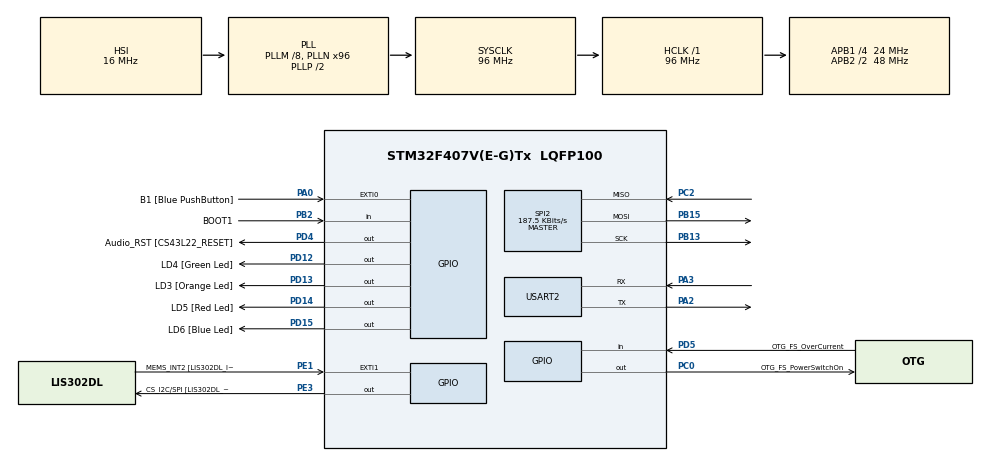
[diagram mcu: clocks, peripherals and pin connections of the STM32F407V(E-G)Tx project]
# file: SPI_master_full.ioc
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Mcu.Family=STM32F4
Mcu.Name=STM32F407V(E-G)Tx
Mcu.Package=LQFP100
NVIC.EXTI0_IRQn=true\:0\:0\:false\:false\:true\:true\:true\:true
NVIC.PriorityGroup=NVIC_PRIORITYGROUP_0
PA0-WKUP.GPIO_Label=B1 [Blue PushButton]
PA0-WKUP.Signal=GPXTI0
PA10.GPIO_Label=OTG_FS_ID
PA10.GPIO_Mode=GPIO_MODE_AF_PP
PA10.GPIO_PuPd=GPIO_NOPULL
PA10.GPIO_Speed=GPIO_SPEED_FREQ_LOW
PA10.Signal=USB_OTG_FS_ID
PA11.GPIO_Label=OTG_FS_DM
PA11.GPIO_Mode=GPIO_MODE_AF_PP
PA11.GPIO_PuPd=GPIO_NOPULL
PA11.GPIO_Speed=GPIO_SPEED_FREQ_LOW
PA11.Signal=USB_OTG_FS_DM
PA12.GPIO_Label=OTG_FS_DP
PA12.GPIO_Mode=GPIO_MODE_AF_PP
PA12.GPIO_PuPd=GPIO_NOPULL
PA12.GPIO_Speed=GPIO_SPEED_FREQ_LOW
PA12.Signal=USB_OTG_FS_DP
PA13.GPIO_Label=SWDIO
PA13.Signal=SYS_JTMS-SWDIO
PA14.GPIO_Label=SWCLK
PA14.Signal=SYS_JTCK-SWCLK
PA2.Mode=Asynchronous
PA2.Signal=USART2_TX
PA3.Mode=Asynchronous
PA3.Signal=USART2_RX
PA4.GPIO_Label=I2S3_WS [CS43L22_LRCK]
PA4.GPIO_Mode=GPIO_MODE_AF_PP
PA4.GPIO_PuPd=GPIO_NOPULL
PA4.GPIO_Speed=GPIO_SPEED_FREQ_LOW
PA4.Signal=I2S3_WS
PA5.GPIO_Label=SPI1_SCK [LIS302DL_SCL/SPC]
PA5.GPIO_Mode=GPIO_MODE_AF_PP
PA5.GPIO_PuPd=GPIO_NOPULL
PA5.GPIO_Speed=GPIO_SPEED_FREQ_LOW
PA5.Signal=SPI1_SCK
PA6.GPIO_Label=SPI1_MISO [LIS302DL_SDO]
PA6.GPIO_Mode=GPIO_MODE_AF_PP
PA6.GPIO_PuPd=GPIO_NOPULL
PA6.GPIO_Speed=GPIO_SPEED_FREQ_LOW
PA6.Signal=SPI1_MISO
PA7.GPIO_Label=SPI1_MOSI [LIS302DL_SDA/SDI/SDO]
PA7.GPIO_Mode=GPIO_MODE_AF_PP
PA7.GPIO_PuPd=GPIO_NOPULL
PA7.GPIO_Speed=GPIO_SPEED_FREQ_LOW
PA7.Signal=SPI1_MOSI
PA9.GPIO_Label=VBUS_FS
PA9.GPIO_Mode=GPIO_MODE_INPUT
PA9.GPIO_PuPd=GPIO_NOPULL
PA9.Signal=USB_OTG_FS_VBUS
PB10.GPIO_Label=CLK_IN [MP45DT02_CLK]
PB10.GPIO_Mode=GPIO_MODE_AF_PP
PB10.GPIO_PuPd=GPIO_NOPULL
PB10.GPIO_Speed=GPIO_SPEED_FREQ_LOW
PB10.Signal=I2S2_CK
PB13.Mode=Full_Duplex_Master
PB13.Signal=SPI2_SCK
PB15.Mode=Full_Duplex_Master
PB15.Signal=SPI2_MOSI
PB2.GPIO_Label=BOOT1
PB2.GPIO_Mode=GPIO_MODE_INPUT
PB2.GPIO_PuPd=GPIO_NOPULL
PB2.Signal=GPIO_Input
PB3.GPIO_Label=SWO
PB3.Signal=SYS_JTDO-SWO
PB6.GPIO_Label=Audio_SCL [CS43L22_SCL]
PB6.GPIO_Mode=GPIO_MODE_AF_OD
PB6.GPIO_PuPd=GPIO_NOPULL
PB6.GPIO_Speed=GPIO_SPEED_FREQ_LOW
PB6.Signal=I2C1_SCL
PB9.GPIO_Label=Audio_SDA [CS43L22_SDA]
PB9.GPIO_Mode=GPIO_MODE_AF_OD
PB9.GPIO_PuPd=GPIO_NOPULL
PB9.GPIO_Speed=GPIO_SPEED_FREQ_LOW
PB9.Signal=I2C1_SDA
PC0.GPIO_Label=OTG_FS_PowerSwitchOn
PC0.GPIO_PuPd=GPIO_NOPULL
PC0.GPIO_Speed=GPIO_SPEED_FREQ_LOW
PC0.PinState=GPIO_PIN_SET
PC0.Signal=GPIO_Output
PC10.GPIO_Label=I2S3_SCK [CS43L22_SCLK]
PC10.GPIO_Mode=GPIO_MODE_AF_PP
PC10.GPIO_PuPd=GPIO_NOPULL
PC10.GPIO_Speed=GPIO_SPEED_FREQ_LOW
PC10.Signal=I2S3_CK
PC12.GPIO_Label=I2S3_SD [CS43L22_SDIN]
PC12.GPIO_Mode=GPIO_MODE_AF_PP
PC12.GPIO_PuPd=GPIO_NOPULL
PC12.GPIO_Speed=GPIO_SPEED_FREQ_LOW
PC12.Signal=I2S3_SD
PC14-OSC32_IN.GPIO_Label=PC14-OSC32_IN
PC14-OSC32_IN.Signal=RCC_OSC32_IN
PC15-OSC32_OUT.GPIO_Label=PC15-OSC32_OUT
PC15-OSC32_OUT.Signal=RCC_OSC32_OUT
PC2.Mode=Full_Duplex_Master
PC2.Signal=SPI2_MISO
PC3.GPIO_Label=PDM_OUT [MP45DT02_DOUT]
PC3.GPIO_Mode=GPIO_MODE_AF_PP
PC3.GPIO_PuPd=GPIO_NOPULL
PC3.GPIO_Speed=GPIO_SPEED_FREQ_LOW
PC3.Signal=I2S2_SD
PC7.GPIO_Label=I2S3_MCK [CS43L22_MCLK]
PC7.GPIO_Mode=GPIO_MODE_AF_PP
PC7.GPIO_PuPd=GPIO_NOPULL
PC7.GPIO_Speed=GPIO_SPEED_FREQ_LOW
PC7.Signal=I2S3_MCK
PD12.GPIO_Label=LD4 [Green Led]
PD12.GPIO_PuPd=GPIO_NOPULL
PD12.GPIO_Speed=GPIO_SPEED_FREQ_LOW
PD12.Signal=GPIO_Output
PD13.GPIO_Label=LD3 [Orange Led]
PD13.GPIO_PuPd=GPIO_NOPULL
PD13.GPIO_Speed=GPIO_SPEED_FREQ_LOW
PD13.Signal=GPIO_Output
PD14.GPIO_Label=LD5 [Red Led]
PD14.GPIO_PuPd=GPIO_NOPULL
PD14.GPIO_Speed=GPIO_SPEED_FREQ_LOW
PD14.Signal=GPIO_Output
PD15.GPIO_Label=LD6 [Blue Led]
PD15.GPIO_PuPd=GPIO_NOPULL
PD15.GPIO_Speed=GPIO_SPEED_FREQ_LOW
PD15.Signal=GPIO_Output
PD4.GPIO_Label=Audio_RST [CS43L22_RESET]
PD4.GPIO_PuPd=GPIO_NOPULL
PD4.GPIO_Speed=GPIO_SPEED_FREQ_LOW
PD4.Signal=GPIO_Output
PD5.GPIO_Label=OTG_FS_OverCurrent
PD5.GPIO_Mode=GPIO_MODE_INPUT
PD5.GPIO_PuPd=GPIO_NOPULL
PD5.Signal=GPIO_Input
PE1.GPIO_Label=MEMS_INT2 [LIS302DL_INT2]
PE1.GPIO_ModeDefaultEXTI=GPIO_MODE_EVT_RISING
PE1.GPIO_PuPd=GPIO_NOPULL
PE1.Signal=GPXTI1
PE3.GPIO_Label=CS_I2C/SPI [LIS302DL_CS_I2C/SPI]
PE3.GPIO_PuPd=GPIO_NOPULL
PE3.GPIO_Speed=GPIO_SPEED_FREQ_LOW
PE3.Signal=GPIO_Output
PH0-OSC_IN.GPIO_Label=PH0-OSC_IN
PH0-OSC_IN.Signal=RCC_OSC_IN
PH1-OSC_OUT.GPIO_Label=PH1-OSC_OUT
PH1-OSC_OUT.Signal=RCC_OSC_OUT
ProjectManager.HeapSize=0x200
ProjectManager.StackSize=0x400
ProjectManager.TargetToolchain=STM32CubeIDE
RCC.48MHZClocksFreq_Value=27428571.42857143
RCC.AHBFreq_Value=96000000
RCC.APB1CLKDivider=RCC_HCLK_DIV4
RCC.APB1Freq_Value=24000000
RCC.APB1TimFreq_Value=48000000
RCC.APB2CLKDivider=RCC_HCLK_DIV2
RCC.APB2Freq_Value=48000000
RCC.APB2TimFreq_Value=96000000
RCC.CortexFreq_Value=96000000
RCC.HCLKFreq_Value=96000000
RCC.HSE_VALUE=8000000
RCC.HSI_VALUE=16000000
RCC.LSE_VALUE=32768
RCC.PLLM=8
RCC.PLLN=96
RCC.PLLQ=7
RCC.SYSCLKFreq_VALUE=96000000
RCC.SYSCLKSource=RCC_SYSCLKSOURCE_PLLCLK
RCC.VCOOutputFreq_Value=192000000
SPI2.BaudRatePrescaler=SPI_BAUDRATEPRESCALER_128
SPI2.CalculateBaudRate=187.5 KBits/s
SPI2.Direction=SPI_DIRECTION_2LINES
SPI2.Mode=SPI_MODE_MASTER
SPI2.VirtualType=VM_MASTER
USART2.VirtualMode=VM_ASYNC
board=STM32F407G-DISC1

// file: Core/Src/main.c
/* USER CODE BEGIN Header */
/**
 ******************************************************************************
 * @file           : main.c
 * @brief          : Main program body
 ******************************************************************************
 * @attention
 *
 * Copyright (c) 2024 STMicroelectronics.
 * All rights reserved.
 *
 * This software is licensed under terms that can be found in the LICENSE file
 * in the root directory of this software component.
 * If no LICENSE file comes with this software, it is provided AS-IS.
 *
 ******************************************************************************
 */
/* USER CODE END Header */
#include "main.h"

/* USER CODE BEGIN Includes */
#include <string.h>
/* USER CODE END Includes */

SPI_HandleTypeDef hspi2;

UART_HandleTypeDef huart2;

/* USER CODE BEGIN PV */
uint8_t cmd[] = { '1', '2' };
uint8_t send_cmd = 0;
uint8_t first_command = 1;
uint16_t cmd_size_bytes = 1;

uint8_t data[8];
uint8_t new_data_in = 0;
uint16_t data_size_bytes = 1;
/* USER CODE END PV */

void SystemClock_Config(void);
static void MX_GPIO_Init(void);
static void MX_USART2_UART_Init(void);
static void MX_SPI2_Init(void);

int main(void) {
	/* USER CODE BEGIN 1 */
	// 1. Master send command when blue button is pressed.
	// 2. Slave on receive command, will transmit a single character.
	// 3. Master will receive data and send directly to UART.
	// 4. Slave will increment the data say from A to B, or B to C.
	// 5. Slave will be set again to trigger interrupt if it receives a cmd from master.
	/* USER CODE END 1 */

	/* MCU Configuration--------------------------------------------------------*/

	/* Reset of all peripherals, Initializes the Flash interface and the Systick. */
	HAL_Init();

	/* Configure the system clock */
	SystemClock_Config();

	/* Initialize all configured peripherals */
	MX_GPIO_Init();
	MX_USART2_UART_Init();
	MX_SPI2_Init();
	char *msg = "application start\r\n";
	uint16_t len_of_data = strlen(msg);
	HAL_UART_Transmit(&huart2, (uint8_t*) msg, len_of_data, HAL_MAX_DELAY);
	/* Infinite loop */
	while (1) {

		/* USER CODE BEGIN 3 */
		// Option 1. >>>>>>>>>>>>>>>>>>>>>>>>>>>>>>>>>>>>>>>>>>>>>>>>>>>>>>>>>>>
		// This works it gives me "ABCDE" it will go on to "Z" if I press 26 times.
		// I set the slave to increment data before it's sending.
		// 1. Send SPI command at every button press.
//		if (send_cmd == 1) {
//			// Delay 10ms for debouncing.
//			HAL_Delay(10);
//
//			// Check if the LED pin is 1.
//			if (HAL_GPIO_ReadPin(GPIOA, GPIO_PIN_0) == GPIO_PIN_SET) {
//				// Send data once at a time.
//				send_cmd = 0;
//
//				// Signalling the slave that we will sync the clock.
//				HAL_SPI_Transmit(&hspi2, (uint8_t*) cmd, cmd_size_bytes,
//				HAL_MAX_DELAY);
//
//				// 2. Ready to receive SPI response.
//				HAL_SPI_Receive(&hspi2, (uint8_t*) data, data_size_bytes,
//				HAL_MAX_DELAY);
//
//				// 3. Send UART sent confirmation.
//				HAL_UART_Transmit(&huart2, (uint8_t*) data, data_size_bytes,
//				HAL_MAX_DELAY);
//
//				// 4. Blink blue LED.
//				HAL_GPIO_WritePin(LD6_GPIO_Port, LD6_Pin, GPIO_PIN_SET);
//				HAL_Delay(1000);
//				HAL_GPIO_WritePin(LD6_GPIO_Port, LD6_Pin, GPIO_PIN_RESET);
//				HAL_Delay(1000);
//
//			}
//		}
		// <<<<<<<<<<<<<<<<<<<<<<<<<<<<<<<<<<<<<<<<<<<<<<<<<<<<<Option 1 ends

		// Option 2. >>>>>>>>>>>>>>>>>>>>>>>>>>>>>>>>>>>>>>>>>>>>>>>>>>>>>>>>>>>
		// Only press button once, send_cmd flag will be set to 1.
		// Then always send command every 2 seconds.
		if (send_cmd == 1) {

			// 1. Signalling the slave that we will sync the clock.
			HAL_SPI_Transmit(&hspi2, (uint8_t*) cmd, cmd_size_bytes,
			HAL_MAX_DELAY);

			// 2. Ready to receive SPI response.
			HAL_SPI_Receive(&hspi2, (uint8_t*) data, data_size_bytes,
			HAL_MAX_DELAY);

			// 3. Send UART sent confirmation.
			HAL_UART_Transmit(&huart2, (uint8_t*) data, data_size_bytes,
			HAL_MAX_DELAY);

			// 4. Blink blue LED.
			HAL_GPIO_WritePin(LD6_GPIO_Port, LD6_Pin, GPIO_PIN_SET);
			HAL_Delay(1000);
			HAL_GPIO_WritePin(LD6_GPIO_Port, LD6_Pin, GPIO_PIN_RESET);
			HAL_Delay(1000);

		}
		/* USER CODE END 3 */
	}
}

void SystemClock_Config(void) {
	RCC_OscInitTypeDef RCC_OscInitStruct = { 0 };
	RCC_ClkInitTypeDef RCC_ClkInitStruct = { 0 };

	/** Configure the main internal regulator output voltage
	 */
	__HAL_RCC_PWR_CLK_ENABLE();
	__HAL_PWR_VOLTAGESCALING_CONFIG(PWR_REGULATOR_VOLTAGE_SCALE1);

	/** Initializes the RCC Oscillators according to the specified parameters
	 * in the RCC_OscInitTypeDef structure.
	 */
	RCC_OscInitStruct.OscillatorType = RCC_OSCILLATORTYPE_HSI;
	RCC_OscInitStruct.HSIState = RCC_HSI_ON;
	RCC_OscInitStruct.HSICalibrationValue = RCC_HSICALIBRATION_DEFAULT;
	RCC_OscInitStruct.PLL.PLLState = RCC_PLL_ON;
	RCC_OscInitStruct.PLL.PLLSource = RCC_PLLSOURCE_HSI;
	RCC_OscInitStruct.PLL.PLLM = 8;
	RCC_OscInitStruct.PLL.PLLN = 96;
	RCC_OscInitStruct.PLL.PLLP = RCC_PLLP_DIV2;
	RCC_OscInitStruct.PLL.PLLQ = 7;
	if (HAL_RCC_OscConfig(&RCC_OscInitStruct) != HAL_OK) {
		Error_Handler();
	}

	/** Initializes the CPU, AHB and APB buses clocks
	 */
	RCC_ClkInitStruct.ClockType = RCC_CLOCKTYPE_HCLK | RCC_CLOCKTYPE_SYSCLK
			| RCC_CLOCKTYPE_PCLK1 | RCC_CLOCKTYPE_PCLK2;
	RCC_ClkInitStruct.SYSCLKSource = RCC_SYSCLKSOURCE_PLLCLK;
	RCC_ClkInitStruct.AHBCLKDivider = RCC_SYSCLK_DIV1;
	RCC_ClkInitStruct.APB1CLKDivider = RCC_HCLK_DIV4;
	RCC_ClkInitStruct.APB2CLKDivider = RCC_HCLK_DIV2;

	if (HAL_RCC_ClockConfig(&RCC_ClkInitStruct, FLASH_LATENCY_3) != HAL_OK) {
		Error_Handler();
	}
}

static void MX_SPI2_Init(void) {

	/* SPI2 parameter configuration*/
	hspi2.Instance = SPI2;
	hspi2.Init.Mode = SPI_MODE_MASTER;
	hspi2.Init.Direction = SPI_DIRECTION_2LINES;
	hspi2.Init.DataSize = SPI_DATASIZE_8BIT;
	hspi2.Init.CLKPolarity = SPI_POLARITY_LOW;
	hspi2.Init.CLKPhase = SPI_PHASE_1EDGE;
	hspi2.Init.NSS = SPI_NSS_SOFT;
	hspi2.Init.BaudRatePrescaler = SPI_BAUDRATEPRESCALER_128;
	hspi2.Init.FirstBit = SPI_FIRSTBIT_MSB;
	hspi2.Init.TIMode = SPI_TIMODE_DISABLE;
	hspi2.Init.CRCCalculation = SPI_CRCCALCULATION_DISABLE;
	hspi2.Init.CRCPolynomial = 10;
	if (HAL_SPI_Init(&hspi2) != HAL_OK) {
		Error_Handler();
	}

}

static void MX_USART2_UART_Init(void) {

	huart2.Instance = USART2;
	huart2.Init.BaudRate = 115200;
	huart2.Init.WordLength = UART_WORDLENGTH_8B;
	huart2.Init.StopBits = UART_STOPBITS_1;
	huart2.Init.Parity = UART_PARITY_NONE;
	huart2.Init.Mode = UART_MODE_TX_RX;
	huart2.Init.HwFlowCtl = UART_HWCONTROL_NONE;
	huart2.Init.OverSampling = UART_OVERSAMPLING_16;
	if (HAL_UART_Init(&huart2) != HAL_OK) {
		Error_Handler();
	}

}

static void MX_GPIO_Init(void) {
	GPIO_InitTypeDef GPIO_InitStruct = { 0 };

	/* GPIO Ports Clock Enable */
	__HAL_RCC_GPIOE_CLK_ENABLE();
	__HAL_RCC_GPIOC_CLK_ENABLE();
	__HAL_RCC_GPIOH_CLK_ENABLE();
	__HAL_RCC_GPIOA_CLK_ENABLE();
	__HAL_RCC_GPIOB_CLK_ENABLE();
	__HAL_RCC_GPIOD_CLK_ENABLE();

	/*Configure GPIO pin Output Level */
	HAL_GPIO_WritePin(CS_I2C_SPI_GPIO_Port, CS_I2C_SPI_Pin, GPIO_PIN_RESET);

	/*Configure GPIO pin Output Level */
	HAL_GPIO_WritePin(OTG_FS_PowerSwitchOn_GPIO_Port,
	OTG_FS_PowerSwitchOn_Pin, GPIO_PIN_SET);

	/*Configure GPIO pin Output Level */
	HAL_GPIO_WritePin(GPIOD,
	LD4_Pin | LD3_Pin | LD5_Pin | LD6_Pin | Audio_RST_Pin, GPIO_PIN_RESET);

	/*Configure GPIO pin : CS_I2C_SPI_Pin */
	GPIO_InitStruct.Pin = CS_I2C_SPI_Pin;
	GPIO_InitStruct.Mode = GPIO_MODE_OUTPUT_PP;
	GPIO_InitStruct.Pull = GPIO_NOPULL;
	GPIO_InitStruct.Speed = GPIO_SPEED_FREQ_LOW;
	HAL_GPIO_Init(CS_I2C_SPI_GPIO_Port, &GPIO_InitStruct);

	/*Configure GPIO pin : OTG_FS_PowerSwitchOn_Pin */
	GPIO_InitStruct.Pin = OTG_FS_PowerSwitchOn_Pin;
	GPIO_InitStruct.Mode = GPIO_MODE_OUTPUT_PP;
	GPIO_InitStruct.Pull = GPIO_NOPULL;
	GPIO_InitStruct.Speed = GPIO_SPEED_FREQ_LOW;
	HAL_GPIO_Init(OTG_FS_PowerSwitchOn_GPIO_Port, &GPIO_InitStruct);

	/*Configure GPIO pin : PDM_OUT_Pin */
	GPIO_InitStruct.Pin = PDM_OUT_Pin;
	GPIO_InitStruct.Mode = GPIO_MODE_AF_PP;
	GPIO_InitStruct.Pull = GPIO_NOPULL;
	GPIO_InitStruct.Speed = GPIO_SPEED_FREQ_LOW;
	GPIO_InitStruct.Alternate = GPIO_AF5_SPI2;
	HAL_GPIO_Init(PDM_OUT_GPIO_Port, &GPIO_InitStruct);

	/*Configure GPIO pin : B1_Pin */
	GPIO_InitStruct.Pin = B1_Pin;
	GPIO_InitStruct.Mode = GPIO_MODE_IT_RISING;
	GPIO_InitStruct.Pull = GPIO_NOPULL;
	HAL_GPIO_Init(B1_GPIO_Port, &GPIO_InitStruct);

	/*Configure GPIO pin : I2S3_WS_Pin */
	GPIO_InitStruct.Pin = I2S3_WS_Pin;
	GPIO_InitStruct.Mode = GPIO_MODE_AF_PP;
	GPIO_InitStruct.Pull = GPIO_NOPULL;
	GPIO_InitStruct.Speed = GPIO_SPEED_FREQ_LOW;
	GPIO_InitStruct.Alternate = GPIO_AF6_SPI3;
	HAL_GPIO_Init(I2S3_WS_GPIO_Port, &GPIO_InitStruct);

	/*Configure GPIO pins : SPI1_SCK_Pin SPI1_MISO_Pin SPI1_MOSI_Pin */
	GPIO_InitStruct.Pin = SPI1_SCK_Pin | SPI1_MISO_Pin | SPI1_MOSI_Pin;
	GPIO_InitStruct.Mode = GPIO_MODE_AF_PP;
	GPIO_InitStruct.Pull = GPIO_NOPULL;
	GPIO_InitStruct.Speed = GPIO_SPEED_FREQ_LOW;
	GPIO_InitStruct.Alternate = GPIO_AF5_SPI1;
	HAL_GPIO_Init(GPIOA, &GPIO_InitStruct);

	/*Configure GPIO pin : BOOT1_Pin */
	GPIO_InitStruct.Pin = BOOT1_Pin;
	GPIO_InitStruct.Mode = GPIO_MODE_INPUT;
	GPIO_InitStruct.Pull = GPIO_NOPULL;
	HAL_GPIO_Init(BOOT1_GPIO_Port, &GPIO_InitStruct);

	/*Configure GPIO pin : CLK_IN_Pin */
	GPIO_InitStruct.Pin = CLK_IN_Pin;
	GPIO_InitStruct.Mode = GPIO_MODE_AF_PP;
	GPIO_InitStruct.Pull = GPIO_NOPULL;
	GPIO_InitStruct.Speed = GPIO_SPEED_FREQ_LOW;
	GPIO_InitStruct.Alternate = GPIO_AF5_SPI2;
	HAL_GPIO_Init(CLK_IN_GPIO_Port, &GPIO_InitStruct);

	/*Configure GPIO pins : LD4_Pin LD3_Pin LD5_Pin LD6_Pin
	 Audio_RST_Pin */
	GPIO_InitStruct.Pin = LD4_Pin | LD3_Pin | LD5_Pin | LD6_Pin | Audio_RST_Pin;
	GPIO_InitStruct.Mode = GPIO_MODE_OUTPUT_PP;
	GPIO_InitStruct.Pull = GPIO_NOPULL;
	GPIO_InitStruct.Speed = GPIO_SPEED_FREQ_LOW;
	HAL_GPIO_Init(GPIOD, &GPIO_InitStruct);

	/*Configure GPIO pins : I2S3_MCK_Pin I2S3_SCK_Pin I2S3_SD_Pin */
	GPIO_InitStruct.Pin = I2S3_MCK_Pin | I2S3_SCK_Pin | I2S3_SD_Pin;
	GPIO_InitStruct.Mode = GPIO_MODE_AF_PP;
	GPIO_InitStruct.Pull = GPIO_NOPULL;
	GPIO_InitStruct.Speed = GPIO_SPEED_FREQ_LOW;
	GPIO_InitStruct.Alternate = GPIO_AF6_SPI3;
	HAL_GPIO_Init(GPIOC, &GPIO_InitStruct);

	/*Configure GPIO pin : VBUS_FS_Pin */
	GPIO_InitStruct.Pin = VBUS_FS_Pin;
	GPIO_InitStruct.Mode = GPIO_MODE_INPUT;
	GPIO_InitStruct.Pull = GPIO_NOPULL;
	HAL_GPIO_Init(VBUS_FS_GPIO_Port, &GPIO_InitStruct);

	/*Configure GPIO pins : OTG_FS_ID_Pin OTG_FS_DM_Pin OTG_FS_DP_Pin */
	GPIO_InitStruct.Pin = OTG_FS_ID_Pin | OTG_FS_DM_Pin | OTG_FS_DP_Pin;
	GPIO_InitStruct.Mode = GPIO_MODE_AF_PP;
	GPIO_InitStruct.Pull = GPIO_NOPULL;
	GPIO_InitStruct.Speed = GPIO_SPEED_FREQ_LOW;
	GPIO_InitStruct.Alternate = GPIO_AF10_OTG_FS;
	HAL_GPIO_Init(GPIOA, &GPIO_InitStruct);

	/*Configure GPIO pin : OTG_FS_OverCurrent_Pin */
	GPIO_InitStruct.Pin = OTG_FS_OverCurrent_Pin;
	GPIO_InitStruct.Mode = GPIO_MODE_INPUT;
	GPIO_InitStruct.Pull = GPIO_NOPULL;
	HAL_GPIO_Init(OTG_FS_OverCurrent_GPIO_Port, &GPIO_InitStruct);

	/*Configure GPIO pins : Audio_SCL_Pin Audio_SDA_Pin */
	GPIO_InitStruct.Pin = Audio_SCL_Pin | Audio_SDA_Pin;
	GPIO_InitStruct.Mode = GPIO_MODE_AF_OD;
	GPIO_InitStruct.Pull = GPIO_NOPULL;
	GPIO_InitStruct.Speed = GPIO_SPEED_FREQ_LOW;
	GPIO_InitStruct.Alternate = GPIO_AF4_I2C1;
	HAL_GPIO_Init(GPIOB, &GPIO_InitStruct);

	/*Configure GPIO pin : MEMS_INT2_Pin */
	GPIO_InitStruct.Pin = MEMS_INT2_Pin;
	GPIO_InitStruct.Mode = GPIO_MODE_EVT_RISING;
	GPIO_InitStruct.Pull = GPIO_NOPULL;
	HAL_GPIO_Init(MEMS_INT2_GPIO_Port, &GPIO_InitStruct);

	/* EXTI interrupt init*/
	HAL_NVIC_SetPriority(EXTI0_IRQn, 0, 0);
	HAL_NVIC_EnableIRQ(EXTI0_IRQn);

}

/* USER CODE BEGIN 4 */
void HAL_GPIO_EXTI_Callback(uint16_t GPIO_Pin) {
	if (GPIO_Pin == GPIO_PIN_0) {
		// Send command when Button is pressed.
		send_cmd = 1;
	}
}

/* USER CODE END 4 */

void Error_Handler(void) {
	__disable_irq();
	while (1) {
	}
}
